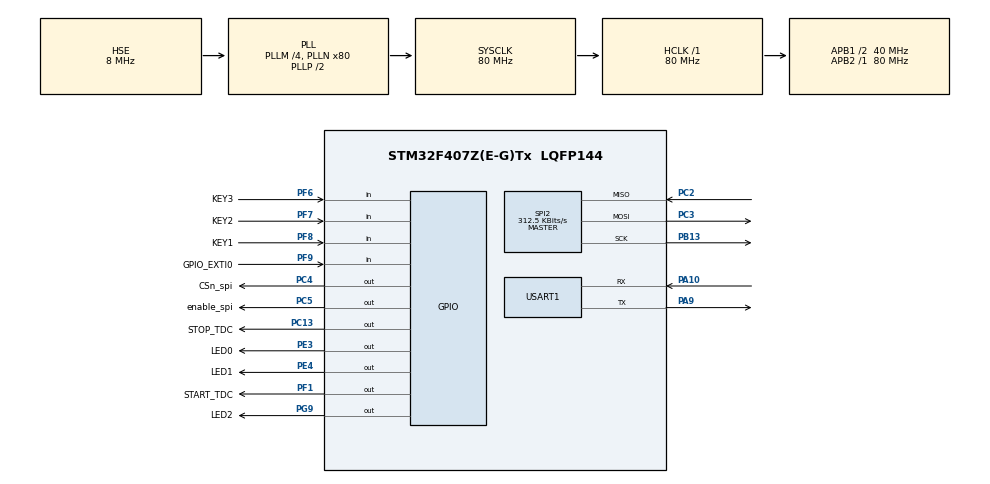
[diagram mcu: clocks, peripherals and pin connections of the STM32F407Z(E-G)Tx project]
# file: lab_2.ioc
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Mcu.Family=STM32F4
Mcu.Name=STM32F407Z(E-G)Tx
Mcu.Package=LQFP144
NVIC.PriorityGroup=NVIC_PRIORITYGROUP_4
PA10.Mode=Asynchronous
PA10.Signal=USART1_RX
PA13.Mode=Serial_Wire
PA13.Signal=SYS_JTMS-SWDIO
PA14.Mode=Serial_Wire
PA14.Signal=SYS_JTCK-SWCLK
PA9.Mode=Asynchronous
PA9.Signal=USART1_TX
PB13.Mode=Full_Duplex_Master
PB13.Signal=SPI2_SCK
PC13-ANTI_TAMP.GPIO_Label=STOP_TDC
PC13-ANTI_TAMP.Signal=GPIO_Output
PC2.Mode=Full_Duplex_Master
PC2.Signal=SPI2_MISO
PC3.Mode=Full_Duplex_Master
PC3.Signal=SPI2_MOSI
PC4.GPIO_Label=CSn_spi
PC4.PinState=GPIO_PIN_SET
PC4.Signal=GPIO_Output
PC5.GPIO_Label=enable_spi
PC5.Signal=GPIO_Output
PE3.GPIO_Label=LED0
PE3.Signal=GPIO_Output
PE4.GPIO_Label=LED1
PE4.Signal=GPIO_Output
PF1.GPIO_Label=START_TDC
PF1.Signal=GPIO_Output
PF6.GPIO_Label=KEY3
PF6.GPIO_Mode=GPIO_MODE_INPUT
PF6.GPIO_PuPd=GPIO_PULLUP
PF6.Signal=GPIO_Input
PF7.GPIO_Label=KEY2
PF7.GPIO_PuPd=GPIO_PULLUP
PF7.Signal=GPIO_Input
PF8.GPIO_Label=KEY1
PF8.GPIO_PuPd=GPIO_PULLUP
PF8.Signal=GPIO_Input
PF9.GPIO_Label=GPIO_EXTI0 
PF9.GPIO_PuPd=GPIO_PULLUP
PF9.Signal=GPIO_Input
PG9.GPIO_Label=LED2
PG9.Signal=GPIO_Output
PH0-OSC_IN.Mode=HSE-External-Oscillator
PH0-OSC_IN.Signal=RCC_OSC_IN
PH1-OSC_OUT.Mode=HSE-External-Oscillator
PH1-OSC_OUT.Signal=RCC_OSC_OUT
ProjectManager.HeapSize=0x200
ProjectManager.StackSize=0x400
ProjectManager.TargetToolchain=STM32CubeIDE
RCC.48MHZClocksFreq_Value=40000000
RCC.AHBFreq_Value=80000000
RCC.APB1CLKDivider=RCC_HCLK_DIV2
RCC.APB1Freq_Value=40000000
RCC.APB1TimFreq_Value=80000000
RCC.APB2Freq_Value=80000000
RCC.APB2TimFreq_Value=80000000
RCC.CortexFreq_Value=80000000
RCC.HCLKFreq_Value=80000000
RCC.HSE_VALUE=8000000
RCC.HSI_VALUE=16000000
RCC.LSE_VALUE=32768
RCC.PLLM=4
RCC.PLLN=80
RCC.PLLSourceVirtual=RCC_PLLSOURCE_HSE
RCC.SYSCLKFreq_VALUE=80000000
RCC.SYSCLKSource=RCC_SYSCLKSOURCE_PLLCLK
RCC.VCOOutputFreq_Value=160000000
SPI2.BaudRatePrescaler=SPI_BAUDRATEPRESCALER_128
SPI2.CalculateBaudRate=312.5 KBits/s
SPI2.Direction=SPI_DIRECTION_2LINES
SPI2.Mode=SPI_MODE_MASTER
SPI2.VirtualType=VM_MASTER
USART1.VirtualMode=VM_ASYNC
board=custom

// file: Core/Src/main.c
/* USER CODE BEGIN Header */
/**
  ******************************************************************************
  * @file           : main.c
  * @brief          : Main program body
  ******************************************************************************
  * @attention
  *
  * Copyright (c) 2024 STMicroelectronics.
  * All rights reserved.
  *
  * This software is licensed under terms that can be found in the LICENSE file
  * in the root directory of this software component.
  * If no LICENSE file comes with this software, it is provided AS-IS.
  *
  ******************************************************************************
  */
/* USER CODE END Header */
#include "main.h"

SPI_HandleTypeDef hspi2;

UART_HandleTypeDef huart1;

/* USER CODE BEGIN PV */
// tao mang truyen du lieu
uint8_t TX[4],RX[4],RX1[4], RX2[4],CLOCK_COUNT1[4], CALIBRATION1[4],CALIBRATION2[4], TIME1[4],TIME2[4];
volatile uint8_t cnt = 0, flag = 0;
/* USER CODE END PV */

void SystemClock_Config(void);
static void MX_GPIO_Init(void);
static void MX_USART1_UART_Init(void);
static void MX_SPI2_Init(void);
/* USER CODE BEGIN PFP */

void delay_1us(uint32_t N)
{
	for (int n = 0; n< N; n ++)
		for (int m = 0; m < 60; m ++);

}
/* USER CODE END PFP */

/* USER CODE BEGIN 0 */

//void write_data(uint8_t TX[4], uint8_t value, uint8_t RX[4])
//{
//	TX[0] = TX[0] + 64;
//	TX[1] = value;
//	TX[2] = 0x00;
//	TX[3] = 0x00;
//
//	HAL_GPIO_WritePin(CSn_spi_GPIO_Port, CSn_spi_Pin, 0);
//	HAL_SPI_TransmitReceive(&hspi2, TX, RX, 2, 100);
//	HAL_GPIO_WritePin(CSn_spi_GPIO_Port, CSn_spi_Pin, 1);
//	HAL_Delay(50);
//	return RX[4];
//}
/* USER CODE END 0 */

int main(void)
{

  /* MCU Configuration--------------------------------------------------------*/

  /* Reset of all peripherals, Initializes the Flash interface and the Systick. */
  HAL_Init();

  /* Configure the system clock */
  SystemClock_Config();

  /* Initialize all configured peripherals */
  MX_GPIO_Init();
  MX_USART1_UART_Init();
  MX_SPI2_Init();
  /* USER CODE BEGIN 2 */

  // �?i�?u khiển chân CS (tích cực thấp)
  HAL_GPIO_WritePin(CSn_spi_GPIO_Port, CSn_spi_Pin, 1);

  // �?i�?u khiển tín hiệu enable
  HAL_GPIO_WritePin(enable_spi_GPIO_Port, enable_spi_Pin, 0);
  HAL_Delay(100);
  HAL_GPIO_WritePin(enable_spi_GPIO_Port, enable_spi_Pin, 1);
  HAL_Delay(100);
  // �?i�?u khiển tín hiệu START/STOP
  HAL_GPIO_WritePin(START_TDC_GPIO_Port, START_TDC_Pin, 0);
  HAL_Delay(1);
  HAL_GPIO_WritePin(STOP_TDC_GPIO_Port, STOP_TDC_Pin, 0);
  HAL_Delay(5);

  /* USER CODE END 2 */

  /* Infinite loop */
  while (1)
  {

    /* USER CODE BEGIN 3 */
	  cnt++;

	  while(flag == 1)
	  {
// khoi tao START, STOP
	  HAL_GPIO_WritePin(START_TDC_GPIO_Port, START_TDC_Pin, 0);
	  delay_1us(1);
	  HAL_GPIO_WritePin(STOP_TDC_GPIO_Port, STOP_TDC_Pin, 0);
	  delay_1us(1);

// XOA CO NHO TRONG THANH GHI 0x02
	  TX[0]=0x02 +64;
	  TX[1]=0xFF;
      TX[2]=0x00;
	  TX[3]=0x00;

	  RX2[0]=0x00;
      RX2[1]=0x00;
	  RX2[2]=0x00;
	  RX2[3]=0x00;

	  HAL_GPIO_WritePin(CSn_spi_GPIO_Port, CSn_spi_Pin, 0);
	  HAL_SPI_TransmitReceive(&hspi2, TX, RX2, 2, 100);

	  HAL_GPIO_WritePin(CSn_spi_GPIO_Port, CSn_spi_Pin, 1);
	  HAL_Delay(100);

	  //HAL_Delay(10);
	  TX[0]=0x02;	// đ�?c thanh ghi tại địa chỉ 02h
	  TX[1]=0x00;
      TX[2]=0x00;
	  TX[3]=0x00;

	  RX2[0]=0x00;
      RX2[1]=0x00;
	  RX2[2]=0x00;
	  RX2[3]=0x00;

	  HAL_GPIO_WritePin(CSn_spi_GPIO_Port, CSn_spi_Pin, 0);
	  HAL_SPI_TransmitReceive(&hspi2, TX, RX2, 4, 100);
	  HAL_GPIO_WritePin(CSn_spi_GPIO_Port, CSn_spi_Pin, 1);

// CAU HINH CONFIG 1: MODE2
	  TX[0]=0x00 + 64; // + 64 tương ứng với việc write data vào thanh ghi 0h
	  TX[1]=0x03;       // ghi giá trị 03h
	  HAL_GPIO_WritePin(CSn_spi_GPIO_Port, CSn_spi_Pin, 0);
	  HAL_SPI_TransmitReceive(&hspi2, TX, RX, 2, 100);
	  HAL_GPIO_WritePin(CSn_spi_GPIO_Port, CSn_spi_Pin, 1);
	  HAL_Delay(50);
	  //HAL_Delay(10);
	  TX[0]=0x00;	// đ�?c thanh ghi tại địa chỉ 00h
	  TX[1]=0x00;
      TX[2]=0x00;
	  TX[3]=0x00;

	  RX1[0]=0x00;
      RX1[1]=0x00;
	  RX1[2]=0x00;
	  RX1[3]=0x00;

	  HAL_GPIO_WritePin(CSn_spi_GPIO_Port, CSn_spi_Pin, 0);
	  HAL_SPI_TransmitReceive(&hspi2, TX, RX1, 4, 100);
	  HAL_GPIO_WritePin(CSn_spi_GPIO_Port, CSn_spi_Pin, 1);

	  // tao xung
	  HAL_GPIO_WritePin(START_TDC_GPIO_Port, START_TDC_Pin, 1);
	  delay_1us(1);
	  HAL_GPIO_WritePin(START_TDC_GPIO_Port, START_TDC_Pin, 0);

	  delay_1us(5);
	  //HAL_Delay(1);

	  HAL_GPIO_WritePin(STOP_TDC_GPIO_Port, STOP_TDC_Pin, 1);
	  delay_1us(1);
	  HAL_GPIO_WritePin(STOP_TDC_GPIO_Port, STOP_TDC_Pin, 0);

	  // end tao xung
	  HAL_Delay(100);

	  // DOC THANH GHI 0x11, CLOCK_COUNT1
	  TX[0]=0x11;	// đ�?c thanh ghi tại địa chỉ 11h; 00 la doc, 64 la ghi
	  TX[1]=0x00;
      TX[2]=0x00;
	  TX[3]=0x00;

	  CLOCK_COUNT1[0]=0x00;
      CLOCK_COUNT1[1]=0x00;
	  CLOCK_COUNT1[2]=0x00;
	  CLOCK_COUNT1[3]=0x00;

	  HAL_GPIO_WritePin(CSn_spi_GPIO_Port, CSn_spi_Pin, 0);
	  HAL_SPI_TransmitReceive(&hspi2, TX, CLOCK_COUNT1, 4, 100);
	  HAL_GPIO_WritePin(CSn_spi_GPIO_Port, CSn_spi_Pin, 1);
	  HAL_Delay(50);

	  // DOC THANH GHI 0x1B, CALIBRATION1
	  TX[0]=0x1B;	// đ�?c thanh ghi tại địa chỉ 1Bh; 00 la doc, 64 la ghi
	  TX[1]=0x00;
      TX[2]=0x00;
	  TX[3]=0x00;

	  CALIBRATION1[0]=0x00;
	  CALIBRATION1[1]=0x00;
	  CALIBRATION1[2]=0x00;
	  CALIBRATION1[3]=0x00;

	  HAL_GPIO_WritePin(CSn_spi_GPIO_Port, CSn_spi_Pin, 0);
	  HAL_SPI_TransmitReceive(&hspi2, TX, CALIBRATION1, 4, 100);
	  HAL_GPIO_WritePin(CSn_spi_GPIO_Port, CSn_spi_Pin, 1);
	  HAL_Delay(50);

	  // DOC THANH GHI 0x1C, CALIBRATION2
	  TX[0]=0x1C;	// đ�?c thanh ghi tại địa chỉ 1Ch; 00 la doc, 64 la ghi
	  TX[1]=0x00;
      TX[2]=0x00;
	  TX[3]=0x00;

	  CALIBRATION2[0]=0x00;
	  CALIBRATION2[1]=0x00;
	  CALIBRATION2[2]=0x00;
	  CALIBRATION2[3]=0x00;

	  HAL_GPIO_WritePin(CSn_spi_GPIO_Port, CSn_spi_Pin, 0);
	  HAL_SPI_TransmitReceive(&hspi2, TX, CALIBRATION2, 4, 100);
	  HAL_GPIO_WritePin(CSn_spi_GPIO_Port, CSn_spi_Pin, 1);
	  HAL_Delay(50);

	  // DOC THANH GHI 0x10, TIME1
	  TX[0]=0x10;	// đ�?c thanh ghi tại địa chỉ 10h; 00 la doc, 64 la ghi
	  TX[1]=0x00;
      TX[2]=0x00;
	  TX[3]=0x00;

	  TIME1[0]=0x00;
	  TIME1[1]=0x00;
	  TIME1[2]=0x00;
	  TIME1[3]=0x00;

	  HAL_GPIO_WritePin(CSn_spi_GPIO_Port, CSn_spi_Pin, 0);
	  HAL_SPI_TransmitReceive(&hspi2, TX, TIME1, 4, 100);
	  HAL_GPIO_WritePin(CSn_spi_GPIO_Port, CSn_spi_Pin, 1);
	  HAL_Delay(50);

	  // DOC THANH GHI 0x12, TIME2
	  TX[0]=0x12;	// đ�?c thanh ghi tại địa chỉ 12h; 00 la doc, 64 la ghi
	  TX[1]=0x00;
      TX[2]=0x00;
	  TX[3]=0x00;

	  TIME2[0]=0x00;
	  TIME2[1]=0x00;
	  TIME2[2]=0x00;
	  TIME2[3]=0x00;

	  HAL_GPIO_WritePin(CSn_spi_GPIO_Port, CSn_spi_Pin, 0);
	  HAL_SPI_TransmitReceive(&hspi2, TX, TIME2, 4, 100);
	  HAL_GPIO_WritePin(CSn_spi_GPIO_Port, CSn_spi_Pin, 1);
	  HAL_Delay(50);

	  flag = 0;
	  }

	  HAL_Delay(100);
  }
  /* USER CODE END 3 */
}

void SystemClock_Config(void)
{
  RCC_OscInitTypeDef RCC_OscInitStruct = {0};
  RCC_ClkInitTypeDef RCC_ClkInitStruct = {0};

  /** Configure the main internal regulator output voltage
  */
  __HAL_RCC_PWR_CLK_ENABLE();
  __HAL_PWR_VOLTAGESCALING_CONFIG(PWR_REGULATOR_VOLTAGE_SCALE1);

  /** Initializes the RCC Oscillators according to the specified parameters
  * in the RCC_OscInitTypeDef structure.
  */
  RCC_OscInitStruct.OscillatorType = RCC_OSCILLATORTYPE_HSE;
  RCC_OscInitStruct.HSEState = RCC_HSE_ON;
  RCC_OscInitStruct.PLL.PLLState = RCC_PLL_ON;
  RCC_OscInitStruct.PLL.PLLSource = RCC_PLLSOURCE_HSE;
  RCC_OscInitStruct.PLL.PLLM = 4;
  RCC_OscInitStruct.PLL.PLLN = 80;
  RCC_OscInitStruct.PLL.PLLP = RCC_PLLP_DIV2;
  RCC_OscInitStruct.PLL.PLLQ = 4;
  if (HAL_RCC_OscConfig(&RCC_OscInitStruct) != HAL_OK)
  {
    Error_Handler();
  }

  /** Initializes the CPU, AHB and APB buses clocks
  */
  RCC_ClkInitStruct.ClockType = RCC_CLOCKTYPE_HCLK|RCC_CLOCKTYPE_SYSCLK
                              |RCC_CLOCKTYPE_PCLK1|RCC_CLOCKTYPE_PCLK2;
  RCC_ClkInitStruct.SYSCLKSource = RCC_SYSCLKSOURCE_PLLCLK;
  RCC_ClkInitStruct.AHBCLKDivider = RCC_SYSCLK_DIV1;
  RCC_ClkInitStruct.APB1CLKDivider = RCC_HCLK_DIV2;
  RCC_ClkInitStruct.APB2CLKDivider = RCC_HCLK_DIV1;

  if (HAL_RCC_ClockConfig(&RCC_ClkInitStruct, FLASH_LATENCY_2) != HAL_OK)
  {
    Error_Handler();
  }
}

static void MX_SPI2_Init(void)
{

  /* SPI2 parameter configuration*/
  hspi2.Instance = SPI2;
  hspi2.Init.Mode = SPI_MODE_MASTER;
  hspi2.Init.Direction = SPI_DIRECTION_2LINES;
  hspi2.Init.DataSize = SPI_DATASIZE_8BIT;
  hspi2.Init.CLKPolarity = SPI_POLARITY_LOW;
  hspi2.Init.CLKPhase = SPI_PHASE_1EDGE;
  hspi2.Init.NSS = SPI_NSS_SOFT;
  hspi2.Init.BaudRatePrescaler = SPI_BAUDRATEPRESCALER_128;
  hspi2.Init.FirstBit = SPI_FIRSTBIT_MSB;
  hspi2.Init.TIMode = SPI_TIMODE_DISABLE;
  hspi2.Init.CRCCalculation = SPI_CRCCALCULATION_DISABLE;
  hspi2.Init.CRCPolynomial = 10;
  if (HAL_SPI_Init(&hspi2) != HAL_OK)
  {
    Error_Handler();
  }

}

static void MX_USART1_UART_Init(void)
{

  huart1.Instance = USART1;
  huart1.Init.BaudRate = 115200;
  huart1.Init.WordLength = UART_WORDLENGTH_8B;
  huart1.Init.StopBits = UART_STOPBITS_1;
  huart1.Init.Parity = UART_PARITY_NONE;
  huart1.Init.Mode = UART_MODE_TX_RX;
  huart1.Init.HwFlowCtl = UART_HWCONTROL_NONE;
  huart1.Init.OverSampling = UART_OVERSAMPLING_16;
  if (HAL_UART_Init(&huart1) != HAL_OK)
  {
    Error_Handler();
  }

}

static void MX_GPIO_Init(void)
{
  GPIO_InitTypeDef GPIO_InitStruct = {0};

  /* GPIO Ports Clock Enable */
  __HAL_RCC_GPIOE_CLK_ENABLE();
  __HAL_RCC_GPIOC_CLK_ENABLE();
  __HAL_RCC_GPIOF_CLK_ENABLE();
  __HAL_RCC_GPIOH_CLK_ENABLE();
  __HAL_RCC_GPIOB_CLK_ENABLE();
  __HAL_RCC_GPIOA_CLK_ENABLE();
  __HAL_RCC_GPIOG_CLK_ENABLE();

  /*Configure GPIO pin Output Level */
  HAL_GPIO_WritePin(GPIOE, LED0_Pin|LED1_Pin, GPIO_PIN_RESET);

  /*Configure GPIO pin Output Level */
  HAL_GPIO_WritePin(GPIOC, STOP_TDC_Pin|enable_spi_Pin, GPIO_PIN_RESET);

  /*Configure GPIO pin Output Level */
  HAL_GPIO_WritePin(START_TDC_GPIO_Port, START_TDC_Pin, GPIO_PIN_RESET);

  /*Configure GPIO pin Output Level */
  HAL_GPIO_WritePin(CSn_spi_GPIO_Port, CSn_spi_Pin, GPIO_PIN_SET);

  /*Configure GPIO pin Output Level */
  HAL_GPIO_WritePin(LED2_GPIO_Port, LED2_Pin, GPIO_PIN_RESET);

  /*Configure GPIO pins : LED0_Pin LED1_Pin */
  GPIO_InitStruct.Pin = LED0_Pin|LED1_Pin;
  GPIO_InitStruct.Mode = GPIO_MODE_OUTPUT_PP;
  GPIO_InitStruct.Pull = GPIO_NOPULL;
  GPIO_InitStruct.Speed = GPIO_SPEED_FREQ_LOW;
  HAL_GPIO_Init(GPIOE, &GPIO_InitStruct);

  /*Configure GPIO pins : STOP_TDC_Pin CSn_spi_Pin enable_spi_Pin */
  GPIO_InitStruct.Pin = STOP_TDC_Pin|CSn_spi_Pin|enable_spi_Pin;
  GPIO_InitStruct.Mode = GPIO_MODE_OUTPUT_PP;
  GPIO_InitStruct.Pull = GPIO_NOPULL;
  GPIO_InitStruct.Speed = GPIO_SPEED_FREQ_LOW;
  HAL_GPIO_Init(GPIOC, &GPIO_InitStruct);

  /*Configure GPIO pin : START_TDC_Pin */
  GPIO_InitStruct.Pin = START_TDC_Pin;
  GPIO_InitStruct.Mode = GPIO_MODE_OUTPUT_PP;
  GPIO_InitStruct.Pull = GPIO_NOPULL;
  GPIO_InitStruct.Speed = GPIO_SPEED_FREQ_LOW;
  HAL_GPIO_Init(START_TDC_GPIO_Port, &GPIO_InitStruct);

  /*Configure GPIO pins : KEY3_Pin KEY2_Pin KEY1_Pin GPIO_EXTI0_Pin */
  GPIO_InitStruct.Pin = KEY3_Pin|KEY2_Pin|KEY1_Pin|GPIO_EXTI0_Pin;
  GPIO_InitStruct.Mode = GPIO_MODE_INPUT;
  GPIO_InitStruct.Pull = GPIO_PULLUP;
  HAL_GPIO_Init(GPIOF, &GPIO_InitStruct);

  /*Configure GPIO pin : LED2_Pin */
  GPIO_InitStruct.Pin = LED2_Pin;
  GPIO_InitStruct.Mode = GPIO_MODE_OUTPUT_PP;
  GPIO_InitStruct.Pull = GPIO_NOPULL;
  GPIO_InitStruct.Speed = GPIO_SPEED_FREQ_LOW;
  HAL_GPIO_Init(LED2_GPIO_Port, &GPIO_InitStruct);

}

void Error_Handler(void)
{
  __disable_irq();
  while (1)
  {
  }
}
